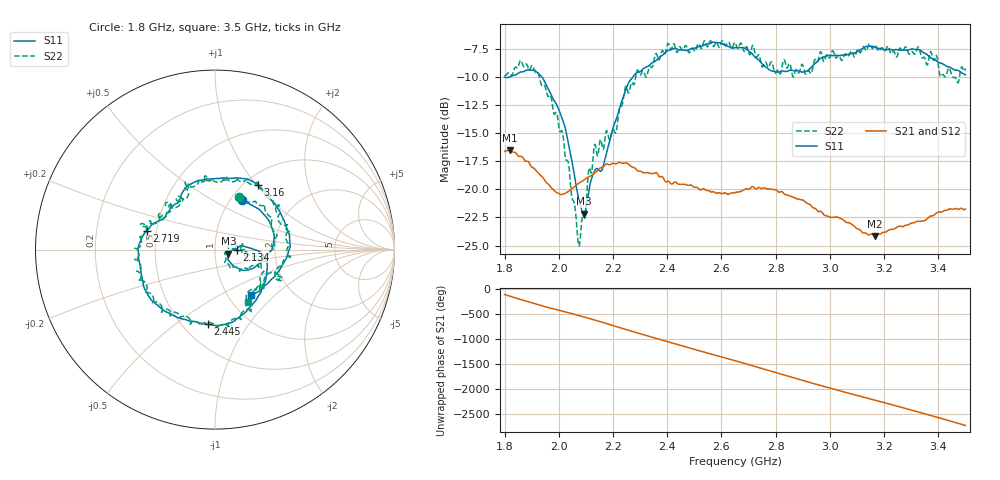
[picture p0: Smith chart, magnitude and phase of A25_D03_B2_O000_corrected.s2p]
! Created with skrf 1.9.0 (http://scikit-rf.org).
# Hz S RI R 50.0
!freq ReS11 ImS11 ReS21 ImS21 ReS12 ImS12 ReS22 ImS22
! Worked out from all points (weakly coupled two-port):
!   1601 points, 1.8 GHz to 3.5 GHz, reference 50 ohm
!   highest |S21| = -16.52 dB at 1.819 GHz (marker M1); lowest = -24.1 dB at 3.165 GHz (marker M2)
!   lowest |S11| = -22.2 dB at 2.093 GHz (marker M3), VSWR 1.17, Z = 58 - j2.72 ohm
!   |S11| at or under -10 dB: start of sweep to 1.818 GHz; 1.938 GHz to 2.273 GHz (335.3 MHz wide, 15.9 % of centre)
!   |S22| runs from -25.1 to -6.7 dB; largest |S21 - S12| = 0.0026
!   S11 on the Smith chart (normalised r, x): 1.8 GHz: 1.12, +0.69; 2.134 GHz: 1.28, -0.00; 2.445 GHz: 0.66, -0.66; 2.719 GHz: 0.44, +0.11; 3.16 GHz: 1.15, +1.02; 3.5 GHz: 1.27, -0.72
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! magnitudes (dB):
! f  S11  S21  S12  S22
! 1.8 GHz  -10.0  -16.6  -16.6  -9.8
! 1.819 GHz  -10.0  -16.5  -16.5  -9.7
! 1.903 GHz  -9.4  -18.1  -18.0  -9.0
! 1.968 GHz  -11.4  -19.7  -19.8  -11.6
! 2.015 GHz  -13.8  -20.4  -20.5  -15.0
! 2.071 GHz  -20.6  -19.5  -19.5  -24.6
! 2.084 GHz  -21.8  -19.3  -19.3  -23.0
! 2.093 GHz  -22.2  -19.2  -19.2  -22.4
! 2.134 GHz  -18.3  -18.5  -18.5  -16.0
! 2.161 GHz  -18.1  -18.0  -17.9  -16.3
! 2.208 GHz  -14.0  -17.7  -17.7  -15.0
! 2.259 GHz  -10.4  -17.8  -17.8  -11.4
! 2.367 GHz  -8.3  -18.8  -18.7  -8.4
! 2.445 GHz  -7.6  -19.5  -19.5  -7.3
! 2.65 GHz  -7.4  -20.3  -20.3  -6.9
! 2.719 GHz  -8.1  -19.8  -19.7  -7.3
! 2.802 GHz  -9.5  -20.0  -20.1  -9.6
! 2.934 GHz  -9.1  -21.6  -21.5  -9.5
! 3.16 GHz  -7.3  -24.1  -24.0  -7.4
! 3.165 GHz  -7.3  -24.1  -24.1  -7.2
! 3.217 GHz  -7.5  -23.6  -23.6  -7.4
! 3.5 GHz  -9.8  -21.7  -21.7  -9.2
